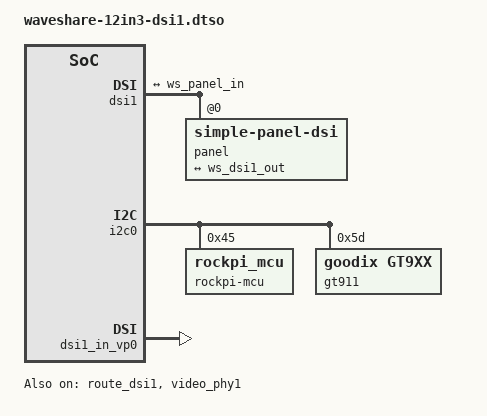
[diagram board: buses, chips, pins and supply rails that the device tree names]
// SPDX-License-Identifier: BSD-3-Clause
/*
 * Waveshare 12.3" DSI-TOUCH-A (Himax HX8399-C) on Radxa CM3 (RK3566) / CM4IO DISP1.
 *
 * COMPLETE overlay. SoC-side plumbing lifted verbatim from the shipped
 * `radxa-cm3-rpi-cm4-7inch-touchscreen-disp1.dtbo` (same board/connector); panel
 * swapped for ours. Everything routes VP0 -> dsi1 (disabling HDMI-on-vp0), enables
 * the DSI DPHY (video_phy1) and i2c0.
 *
 * PANEL POWER/RESET/BACKLIGHT = `rockpi_mcu@0x45` (built-in BSP driver). Verified
 * LIVE 2026-08-13 that the panel MCU is byte-identical to our Waveshare part
 * (hw id=0x01, size=123, GPIO-expander regs 0x94/0x95, PWM 0x96) and that driving
 * it lights the backlight — so the panel node carries NO reset/power/backlight gpios.
 * If rockpi_mcu doesn't fully power/reset our panel, fall back to our proven i2cset
 * sequence (src/waveshare_display.c prv_mcu_panel_power_on) as a boot oneshot.
 *
 * Touch (GT911@0x5d) intentionally OMITTED here — add once video is confirmed.
 *
 * Native 720x1920 portrait, 4-lane, RGB888; UI is 1920x720 rotated 270 in fbdev.
 * Pre-merge into the base DTB with fdtoverlay (NOT U-Boot fdtoverlays — that traps
 * into rescue on this board). See linux/cm3/README.md + project_cm3_can_dts memory.
 */
/dts-v1/;
/plugin/;

/* No dt-bindings includes: all values below are numeric (mipi-dsi.h isn't in the
   BSP kernel headers, and the panel node uses no gpios). */

&dsi1 {
	status = "okay";
	#address-cells = <1>;
	#size-cells = <0>;

	panel@0 {
		compatible = "simple-panel-dsi", "panel-simple-dsi";
		reg = <0>;

		/*
		 * dsi,flags = 0xa03 = the Radxa/Rockchip convention for these DSI
		 * panels: MIPI_DSI_MODE_VIDEO | _VIDEO_BURST | _NO_EOT_PACKET | _LPM.
		 * (Numeric to avoid the EOT-flag-polarity ambiguity across kernel
		 * versions; matches what the shipped Radxa DSI overlays use.)
		 */
		dsi,flags  = <0xa03>;
		dsi,format = <0>;	/* MIPI_DSI_FMT_RGB888 */
		dsi,lanes  = <4>;

		/include/ "hx8399-init-seq.dtsi"
		panel-exit-sequence = [
			05 0a 01 28	/* DISPOFF +10ms */
			05 78 01 10	/* SLPIN   +120ms */
		];

		display-timings {
			native-mode = <&ws_timing0>;
			/* 95 MHz => ~63 Hz (panel native, what the Pi runs). Porches from
			   the Pi driver. 80 MHz/~53 Hz is the proven fallback if the VOP/DSI
			   PLL can't make 95. */
			ws_timing0: timing0 {
				clock-frequency = <95000000>;
				hactive      = <720>;
				vactive      = <1920>;
				hsync-len    = <10>;
				hback-porch  = <12>;
				hfront-porch = <10>;
				vsync-len    = <18>;
				vback-porch  = <4>;
				vfront-porch = <64>;
				hsync-active = <0>;
				vsync-active = <0>;
				de-active    = <0>;
				pixelclk-active = <0>;
			};
		};

		ports {
			#address-cells = <1>;
			#size-cells = <0>;
			port@0 {
				reg = <0>;
				ws_panel_in: endpoint {
					remote-endpoint = <&ws_dsi1_out>;
				};
			};
		};
	};

	ports {
		#address-cells = <1>;
		#size-cells = <0>;
		port@1 {
			reg = <1>;
			#address-cells = <1>;
			#size-cells = <0>;
			ws_dsi1_out: endpoint@0 {
				reg = <0>;
				remote-endpoint = <&ws_panel_in>;
			};
		};
	};
};

/* Panel MCU (power/reset/backlight) + GT911 touch, both on i2c0. */
&i2c0 {
	status = "okay";
	pinctrl-names = "default";
	pinctrl-0 = <&i2c0_xfer>;
	#address-cells = <1>;
	#size-cells = <0>;

	rockpi-mcu@45 {
		compatible = "rockpi_mcu";
		reg = <0x45>;
	};

	/*
	 * GT911 (GT9271) touch @0x5d, confirmed alive on i2c-0. Reset is released by the
	 * panel MCU (ws-panel-power.sh, MCU bit9) so no reset-gpios here. The DISP1
	 * connector's touch-INT gpio routing is unknown, and Radxa's own shipped touch
	 * overlays specify no irq (the BSP Goodix-TS driver handles it) — so start
	 * minimal. If it binds (0x5d -> UU) but reports no touches, add irq-gpios/interrupts.
	 */
	gt911@5d {
		/* Rockchip BSP "Goodix-TS" (gt9xx) driver — needs max-x/max-y/tp-size (it
		   errors "no max-x defined" without them). tp-size=9271 = our GT9271.
		   max-x/max-y = panel-native 720x1920 (portrait; UI is rotated 270 in fbdev).
		   No touch-gpio/reset-gpio: the CM4IO DISP1 connector's touch INT/reset are
		   MCU-mediated (reset released by ws-panel-power) — the shipped CM3 touch
		   overlays likewise specify none. If the driver hard-needs touch-gpio, that's
		   the next thing to solve. */
		compatible = "goodix,gt9xx";
		reg = <0x5d>;
		max-x = <720>;
		max-y = <1920>;
		tp-size = <9271>;
	};
};

/* VOP2 VP0 -> dsi1 route (takes VP0 from HDMI). */
&dsi1_in_vp0 {
	status = "okay";
};

&route_dsi1 {
	status = "okay";
	connect = <&vp0_out_dsi1>;
};

&hdmi {
	status = "disabled";
};

&hdmi_in_vp0 {
	status = "disabled";
};

/* DSI DPHY for dsi1. */
&video_phy1 {
	status = "okay";
};
